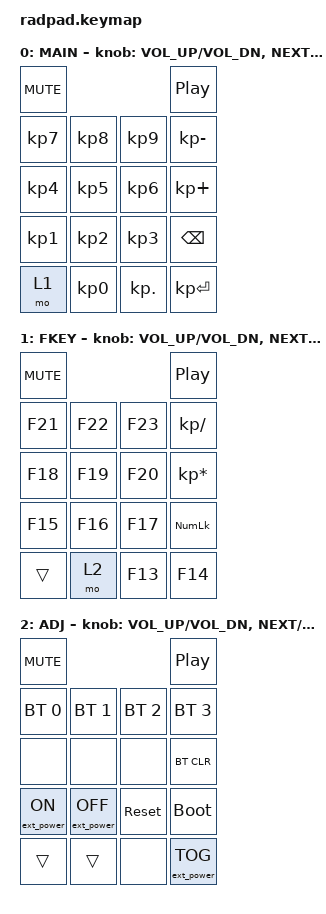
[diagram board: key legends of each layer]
/*
 * Copyright (c) 2020 The ZMK Contributors
 *
 * SPDX-License-Identifier: MIT
 */

#include <behaviors.dtsi>
#include <dt-bindings/zmk/keys.h>
#include <dt-bindings/zmk/bt.h>
#include <dt-bindings/zmk/ext_power.h>

/ {
    keymap {
        compatible = "zmk,keymap";

        default_layer {
            label = "MAIN";
            bindings = <
                &kp C_MUTE                     &kp C_PP
                &kp KP_N7 &kp KP_N8 &kp KP_N9  &kp KP_MINUS
                &kp KP_N4 &kp KP_N5 &kp KP_N6  &kp KP_PLUS
                &kp KP_N1 &kp KP_N2 &kp KP_N3  &kp BSPC
                &mo 1     &kp KP_N0 &kp KP_DOT &kp KP_ENTER
            >;

			sensor-bindings = <&inc_dec_kp C_VOL_UP C_VOL_DN &inc_dec_kp C_NEXT C_PREV>;
        };

        lower_layer {
            label = "FKEY";
            bindings = <
                &kp C_MUTE              &kp C_PP
                &kp F21 &kp F22 &kp F23 &kp KP_SLASH
                &kp F18 &kp F19 &kp F20 &kp KP_MULTIPLY
                &kp F15 &kp F16 &kp F17 &kp KP_NUM
                &trans  &mo 2  &kp F13  &kp F14
            >;

			sensor-bindings = <&inc_dec_kp C_VOL_UP C_VOL_DN &inc_dec_kp C_NEXT C_PREV>;
        };

        adjust_layer {
            label = "ADJ";
            bindings = <
                &kp C_MUTE               &kp C_PP
                &bt BT_SEL 0 &bt BT_SEL 1 &bt BT_SEL 2 &bt BT_SEL 3
                &none        &none        &none        &bt BT_CLR
                &ext_power EP_ON        &ext_power EP_OFF        &sys_reset       &bootloader
                &trans       &trans       &none        &ext_power EP_TOG
            >;

			sensor-bindings = <&inc_dec_kp C_VOL_UP C_VOL_DN &inc_dec_kp C_NEXT C_PREV>;
        };
    };
};
